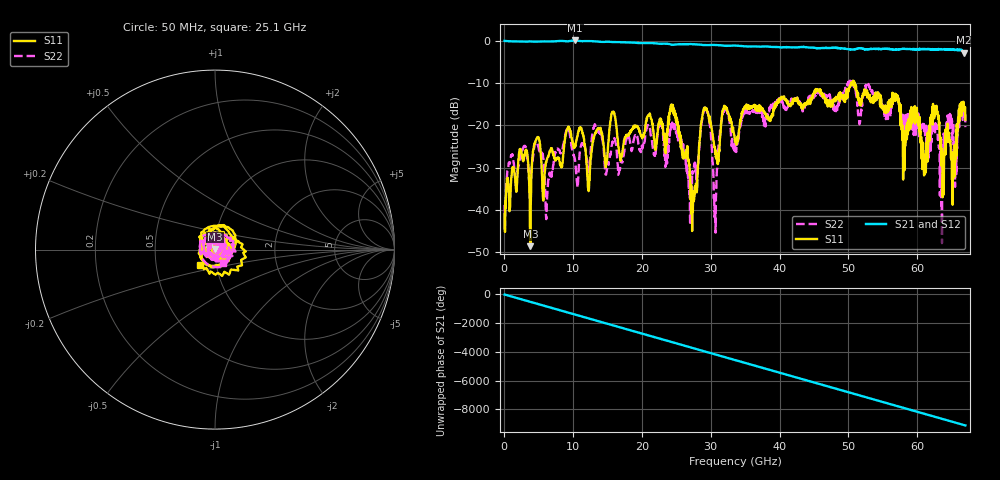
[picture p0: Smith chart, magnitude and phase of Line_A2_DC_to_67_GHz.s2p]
#  HZ  S  MA  R  50.00
! Rohde & Schwarz ZVA67 4Ports - Version 4.11 - 1305.7002k04 SN: 101051
! Date: 2023-05-31 14:02:51
! Measurements: S11 S21 S12 S22
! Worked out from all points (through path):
!   1340 points, 50 MHz to 67 GHz, reference 50 ohm
!   highest |S21| = 0.07 dB at 10.3 GHz (marker M1); lowest = -2.8 dB at 66.8 GHz (marker M2)
!   group delay of S21, straight-line fit = 378 ps
!   lowest |S11| = -48.6 dB at 3.8 GHz (marker M3), VSWR 1.01, Z = 50 + j0.372 ohm
!   |S11| at or under -10 dB: start of sweep to 50.39 GHz; 50.40893 GHz to 50.48699 GHz (78.05 MHz wide, 0.155 % of centre); 50.91 GHz to end of sweep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
!   |S22| runs from -47.8 to -9.4 dB; largest |S21 - S12| = 0.29
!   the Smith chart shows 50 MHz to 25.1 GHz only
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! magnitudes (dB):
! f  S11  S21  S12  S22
! 50 MHz  -41.0  0.0  -0.1  -38.8
! 2.35 GHz  -25.6  -0.2  -0.2  -27.8
! 3.8 GHz  -48.6  -0.2  -0.2  -32.8
! 4.7 GHz  -23.2  -0.2  -0.2  -23.8
! 6.15 GHz  -28.3  -0.2  -0.1  -39.9
! 9.15 GHz  -21.0  -0.1  -0.1  -20.7
! 10.3 GHz  -24.7  0.1  0.1  -28.4
! 11.25 GHz  -21.2  -0.1  -0.1  -24.3
! 12.25 GHz  -35.5  -0.1  -0.1  -31.0
! 15.8 GHz  -16.8  -0.3  -0.3  -23.9
! 22.4 GHz  -19.7  -0.7  -0.7  -20.5
! 24.6 GHz  -15.9  -0.9  -0.9  -19.9
! 27.4 GHz  -40.4  -0.8  -0.8  -30.9
! 29.1 GHz  -15.8  -1.0  -1.0  -16.0
! 30.6 GHz  -25.0  -1.0  -1.0  -39.2
! 31.95 GHz  -15.4  -1.2  -1.2  -16.6
! 33.55 GHz  -23.9  -1.1  -1.1  -25.1
! 44.7 GHz  -13.2  -1.6  -1.6  -13.5
! 55.85 GHz  -15.7  -1.9  -2.0  -16.9
! 65.2 GHz  -26.3  -2.1  -2.1  -20.1
! 66.8 GHz  -16.6  -2.8  -2.8  -17.8
! 67 GHz  -18.7  -2.6  -2.6  -20.4
